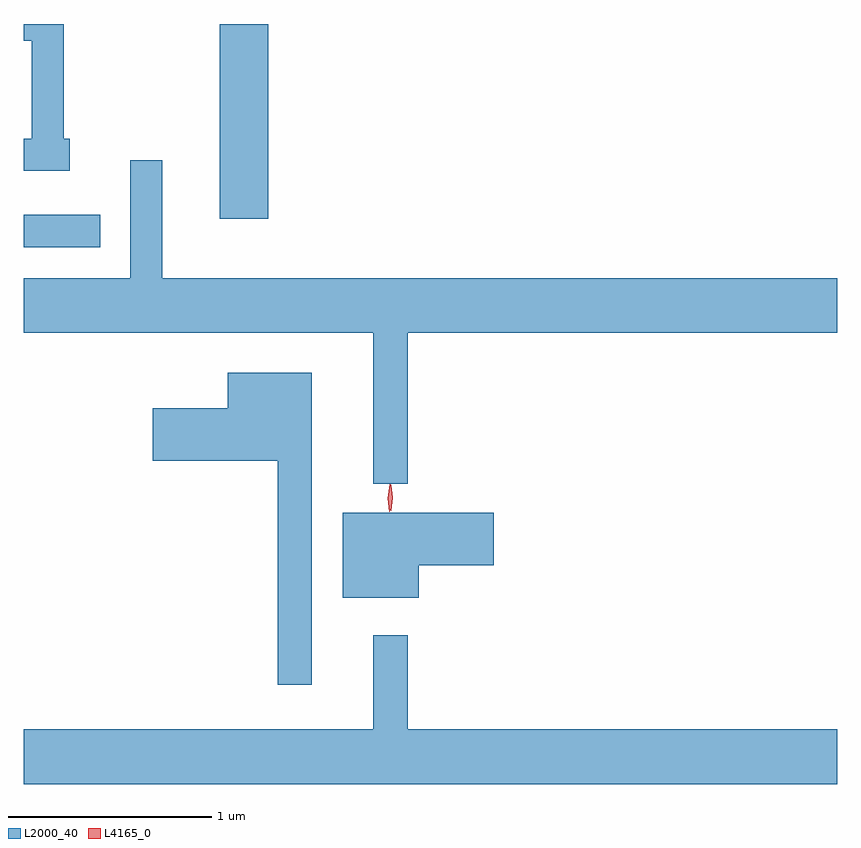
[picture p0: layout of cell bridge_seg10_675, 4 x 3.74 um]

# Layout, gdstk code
import gdstk
lib = gdstk.Library(unit=1e-6, precision=1e-09)
def R(c, l, rs):  # rectangles x0, y0, x1, y1
    for r in rs: c.add(gdstk.rectangle(r[:2], r[2:], *l))
def P(c, l, *ps):  # polygons
    for p in ps: c.add(gdstk.Polygon(p, *l))
L2000_40 = (2000, 40)
L4165_0 = (4165, 0)

bridge_seg10_675 = lib.new_cell('bridge_seg10_675')
R(bridge_seg10_675, L2000_40, [(885.842,2087.696,886.218,2087.854), (886.806,2087.836,887.044,2088.793)])
P(bridge_seg10_675, L2000_40, [(886.069,2088.229),(886.039,2088.229),(886.039,2088.793),(885.842,2088.793),(885.842,2088.711),(885.881,2088.711),(885.881,2088.229),(885.842,2088.229),(885.842,2088.071),(886.069,2088.071)],
  [(887.729,2087.276),(889.842,2087.276),(889.842,2087.544),(886.524,2087.544),(886.524,2088.123),(886.366,2088.123),(886.366,2087.544),(885.842,2087.544),(885.842,2087.276),(887.561,2087.276),(887.561,2086.533),(887.729,2086.533)],
  [(887.259,2087.079),(886.846,2087.079),(886.846,2086.904),(886.476,2086.904),(886.476,2086.646),(887.091,2086.646),(887.091,2085.543),(887.259,2085.543)],
  [(887.784,2086.131),(888.154,2086.131),(888.154,2086.389),(887.411,2086.389),(887.411,2085.971),(887.784,2085.971)],
  [(889.842,2085.324),(887.729,2085.324),(887.729,2085.788),(887.561,2085.788),(887.561,2085.324),(885.842,2085.324),(885.842,2085.056),(889.842,2085.056)])
P(bridge_seg10_675, L4165_0, [(887.64,2086.394),(887.632,2086.462),(887.642,2086.53),(887.642,2086.53),(887.643,2086.53),(887.652,2086.462),(887.641,2086.394),(887.641,2086.394)],
  [(887.647,2086.4),(887.647,2086.4),(887.638,2086.463),(887.647,2086.526),(887.647,2086.527),(887.648,2086.526),(887.657,2086.463),(887.648,2086.4)])

lib.write_gds('bridge_seg10_675.gds')
